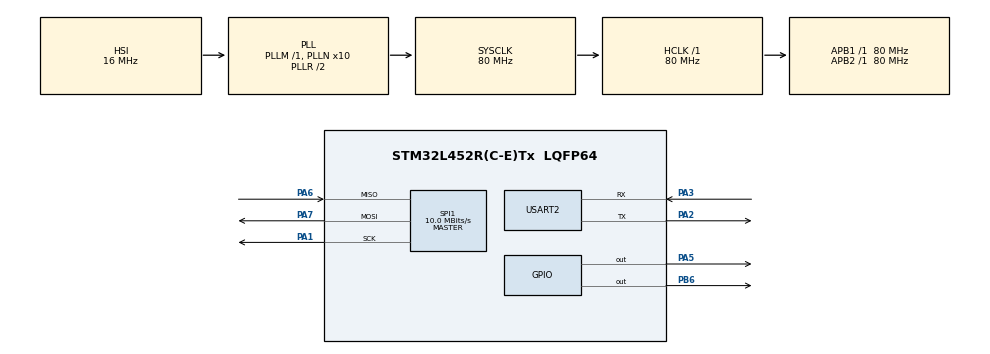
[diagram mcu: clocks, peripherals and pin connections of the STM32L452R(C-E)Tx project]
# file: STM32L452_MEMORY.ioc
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Dma.Request0=USART2_TX
Dma.USART2_TX.0.Direction=DMA_MEMORY_TO_PERIPH
Dma.USART2_TX.0.Instance=DMA1_Channel7
Dma.USART2_TX.0.MemDataAlignment=DMA_MDATAALIGN_BYTE
Dma.USART2_TX.0.MemInc=DMA_MINC_ENABLE
Dma.USART2_TX.0.Mode=DMA_NORMAL
Dma.USART2_TX.0.PeriphDataAlignment=DMA_PDATAALIGN_BYTE
Dma.USART2_TX.0.PeriphInc=DMA_PINC_DISABLE
Dma.USART2_TX.0.Priority=DMA_PRIORITY_LOW
FATFS._MAX_SS=4096
FATFS._USE_LFN=1
Mcu.Family=STM32L4
Mcu.Name=STM32L452R(C-E)Tx
Mcu.Package=LQFP64
NVIC.DMA1_Channel7_IRQn=true\:0\:0\:false\:false\:true\:false\:true
NVIC.PriorityGroup=NVIC_PRIORITYGROUP_4
PA1.Mode=Full_Duplex_Master
PA1.Signal=SPI1_SCK
PA13\ (JTMS/SWDIO).Mode=Serial_Wire
PA13\ (JTMS/SWDIO).Signal=SYS_JTMS-SWDIO
PA14\ (JTCK/SWCLK).Mode=Serial_Wire
PA14\ (JTCK/SWCLK).Signal=SYS_JTCK-SWCLK
PA2.Mode=Asynchronous
PA2.Signal=USART2_TX
PA3.Mode=Asynchronous
PA3.Signal=USART2_RX
PA5.Signal=GPIO_Output
PA6.GPIO_PuPd=GPIO_NOPULL
PA6.Mode=Full_Duplex_Master
PA6.Signal=SPI1_MISO
PA7.GPIO_PuPd=GPIO_NOPULL
PA7.Mode=Full_Duplex_Master
PA7.Signal=SPI1_MOSI
PB6.Signal=GPIO_Output
PH0-OSC_IN\ (PH0).Mode=HSE-External-Oscillator
PH0-OSC_IN\ (PH0).Signal=RCC_OSC_IN
PH1-OSC_OUT\ (PH1).Mode=HSE-External-Oscillator
PH1-OSC_OUT\ (PH1).Signal=RCC_OSC_OUT
ProjectManager.HeapSize=0x200
ProjectManager.StackSize=0x400
ProjectManager.TargetToolchain=STM32CubeIDE
RCC.ADCFreq_Value=128000000
RCC.AHBFreq_Value=80000000
RCC.APB1Freq_Value=80000000
RCC.APB1TimFreq_Value=80000000
RCC.APB2Freq_Value=80000000
RCC.APB2TimFreq_Value=80000000
RCC.CK48CLockSelection=RCC_USBCLKSOURCE_HSI48
RCC.CortexFreq_Value=80000000
RCC.HCLKFreq_Value=80000000
RCC.HSE_VALUE=8000000
RCC.HSI48_VALUE=48000000
RCC.HSI_VALUE=16000000
RCC.LSE_VALUE=32768
RCC.MSI_VALUE=4000000
RCC.PLLN=10
RCC.PLLSAI1N=16
RCC.PLLSourceVirtual=RCC_PLLSOURCE_HSI
RCC.SYSCLKFreq_VALUE=80000000
RCC.SYSCLKSource=RCC_SYSCLKSOURCE_PLLCLK
RCC.USBFreq_Value=48000000
RCC.VCOOutputFreq_Value=160000000
SPI1.BaudRatePrescaler=SPI_BAUDRATEPRESCALER_8
SPI1.CalculateBaudRate=10.0 MBits/s
SPI1.Direction=SPI_DIRECTION_2LINES
SPI1.Mode=SPI_MODE_MASTER
SPI1.VirtualType=VM_MASTER
USART2.VirtualMode-Asynchronous=VM_ASYNC
VP_FATFS_VS_Generic.Mode=User_defined
board=custom

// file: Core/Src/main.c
/* USER CODE BEGIN Header */
/**
  ******************************************************************************
  * @file           : main.c
  * @brief          : Main program body
  ******************************************************************************
  * @attention
  *
  * <h2><center>&copy; Copyright (c) 2020 STMicroelectronics.
  * All rights reserved.</center></h2>
  *
  * This software component is licensed by ST under BSD 3-Clause license,
  * the "License"; You may not use this file except in compliance with the
  * License. You may obtain a copy of the License at:
  *                        opensource.org/licenses/BSD-3-Clause
  *
  ******************************************************************************
  */
/* USER CODE END Header */

#include "main.h"
#include "fatfs.h"

/* USER CODE BEGIN Includes */
#include "../Libs/dma_usart/dma_usart.h"
#include "../Libs/flash/flash.h"
#include "fatfs_sd.h"
/* USER CODE END Includes */

SPI_HandleTypeDef hspi1;

UART_HandleTypeDef huart2;
DMA_HandleTypeDef hdma_usart2_tx;

/* USER CODE BEGIN PV */
FATFS SDFatFs;
FIL file;
extern char SDPath[4];   /* SD logical drive path */
/* USER CODE END PV */

void SystemClock_Config(void);
static void MX_GPIO_Init(void);
static void MX_DMA_Init(void);
static void MX_USART2_UART_Init(void);
static void MX_SPI1_Init(void);
/* USER CODE BEGIN PFP */
uint16_t state;
uint16_t i;
void HAL_FLASH_EndOfOperationCallback(uint32_t ReturnValue) {
	state = ReturnValue;
	i++;
}
void HAL_FLASH_OperationErrorCallback(uint32_t ReturnValue) {
	state = ReturnValue;
	i++;
}
/* USER CODE END PFP */

/* USER CODE BEGIN 0 */
FATFS fs;
FIL fil;
FRESULT rez;
char buffer[1024];
UINT br, bw;
FATFS *pfs;
DWORD fre_clust;
uint32_t total, free_space;
/* USER CODE END 0 */

int main(void)
{

  /* MCU Configuration--------------------------------------------------------*/

  /* Reset of all peripherals, Initializes the Flash interface and the Systick. */
  HAL_Init();

  /* Configure the system clock */
  SystemClock_Config();

  /* Initialize all configured peripherals */
  MX_GPIO_Init();
  MX_DMA_Init();
  MX_USART2_UART_Init();
  MX_FATFS_Init();
  MX_SPI1_Init();

  /* Infinite loop */
  /* USER CODE BEGIN WHILE */
  i=0;
  state = 0;
  DMA_USART_Init();
  DMA_USART_Printf("hello\r\n");
  HAL_Delay(10);
  uint32_t flashAddress = 0x0807F800;
  HAL_FLASH_Lock();

  uint8_t size = 20;
  uint64_t res[size];
  uint64_t val[size];
  for(uint16_t i=0; i<size; i++) {
  	val[i] = i+10000000;
  }

  HAL_Delay (500);

	rez = f_mount(&fs, "/", 1);
	if (rez != FR_OK){
		DMA_USART_Printf("ERROR!!! in mounting SD CARD... %d \r\n", rez);
	} else {
		DMA_USART_Printf("SD CARD mounted successfully...\r\n");
	}

	HAL_Delay (20);
	/*************** Card capacity details ********************/

	/* Check free space */
	f_getfree("", &fre_clust, &pfs);

	total = (uint32_t)((pfs->n_fatent - 2) * pfs->csize * 0.5);
	DMA_USART_Printf("SD CARD Total Size: \t%lu\r\n",total);
	free_space = (uint32_t)(fre_clust * pfs->csize * 0.5);
	HAL_Delay (20);
	DMA_USART_Printf("SD CARD Free Space: \t%lu\r\n",free_space);
	HAL_Delay (20);

	/************* The following operation is using PUTS and GETS *********************/

	/* Open file to write/ create a file if it doesn't exist */
	rez = f_open(&fil, "file1.txt", FA_OPEN_ALWAYS | FA_READ | FA_WRITE);
	if (rez != FR_OK) {
			DMA_USART_Printf("ERROR!!! in opening SD CARD... %d \r\n", rez);
		} else {
			DMA_USART_Printf("File opened successfully...\r\n");
		}

  while (1)
  {
  	Flash_SetPageAddrs(255, flashAddress);
  	  HAL_StatusTypeDef a = Flash_WriteN(0, val, size, DATA_TYPE_64);

  	  Flash_ReadN(0, res, size, DATA_TYPE_64);
  	  //FRESULT res;
  	  /*uint32_t w_q, r_q;
  	  uint8_t w_text[] = "Do u know the way?";
  	  uint8_t r_write[100] = {0};
  	  FRESULT mountState = f_mount(&SDFatFS, (TCHAR const*)SDPath, 0);
  	  if(mountState != FR_OK) {
  	  	Error_Handler();
  	  	DMA_USART_Printf("Mount failed %d \r\n", mountState);
  	  } else {
  	  	FRESULT stateOpen = f_open(&file, "w.txt", FA_CREATE_ALWAYS | FA_WRITE);
  	  	if(stateOpen != FR_OK) {
  	  		Error_Handler();
  	  		DMA_USART_Printf("Open failed %d \r\n", stateOpen);
  	  	} else {
  	  		f_close(&file);
  	  	}
  	  }*/
  	HAL_GPIO_TogglePin(GPIOA, GPIO_PIN_5);
		HAL_Delay(1000);
    /* USER CODE END WHILE */

  }
}

void SystemClock_Config(void)
{
  RCC_OscInitTypeDef RCC_OscInitStruct = {0};
  RCC_ClkInitTypeDef RCC_ClkInitStruct = {0};
  RCC_PeriphCLKInitTypeDef PeriphClkInit = {0};

  /** Initializes the CPU, AHB and APB busses clocks
  */
  RCC_OscInitStruct.OscillatorType = RCC_OSCILLATORTYPE_HSI;
  RCC_OscInitStruct.HSIState = RCC_HSI_ON;
  RCC_OscInitStruct.HSICalibrationValue = RCC_HSICALIBRATION_DEFAULT;
  RCC_OscInitStruct.PLL.PLLState = RCC_PLL_ON;
  RCC_OscInitStruct.PLL.PLLSource = RCC_PLLSOURCE_HSI;
  RCC_OscInitStruct.PLL.PLLM = 1;
  RCC_OscInitStruct.PLL.PLLN = 10;
  RCC_OscInitStruct.PLL.PLLP = RCC_PLLP_DIV7;
  RCC_OscInitStruct.PLL.PLLQ = RCC_PLLQ_DIV2;
  RCC_OscInitStruct.PLL.PLLR = RCC_PLLR_DIV2;
  if (HAL_RCC_OscConfig(&RCC_OscInitStruct) != HAL_OK)
  {
    Error_Handler();
  }
  /** Initializes the CPU, AHB and APB busses clocks
  */
  RCC_ClkInitStruct.ClockType = RCC_CLOCKTYPE_HCLK|RCC_CLOCKTYPE_SYSCLK
                              |RCC_CLOCKTYPE_PCLK1|RCC_CLOCKTYPE_PCLK2;
  RCC_ClkInitStruct.SYSCLKSource = RCC_SYSCLKSOURCE_PLLCLK;
  RCC_ClkInitStruct.AHBCLKDivider = RCC_SYSCLK_DIV1;
  RCC_ClkInitStruct.APB1CLKDivider = RCC_HCLK_DIV1;
  RCC_ClkInitStruct.APB2CLKDivider = RCC_HCLK_DIV1;

  if (HAL_RCC_ClockConfig(&RCC_ClkInitStruct, FLASH_LATENCY_4) != HAL_OK)
  {
    Error_Handler();
  }
  PeriphClkInit.PeriphClockSelection = RCC_PERIPHCLK_USART2;
  PeriphClkInit.Usart2ClockSelection = RCC_USART2CLKSOURCE_PCLK1;
  if (HAL_RCCEx_PeriphCLKConfig(&PeriphClkInit) != HAL_OK)
  {
    Error_Handler();
  }
  /** Configure the main internal regulator output voltage
  */
  if (HAL_PWREx_ControlVoltageScaling(PWR_REGULATOR_VOLTAGE_SCALE1) != HAL_OK)
  {
    Error_Handler();
  }
}

static void MX_SPI1_Init(void)
{

  /* SPI1 parameter configuration*/
  hspi1.Instance = SPI1;
  hspi1.Init.Mode = SPI_MODE_MASTER;
  hspi1.Init.Direction = SPI_DIRECTION_2LINES;
  hspi1.Init.DataSize = SPI_DATASIZE_4BIT;
  hspi1.Init.CLKPolarity = SPI_POLARITY_LOW;
  hspi1.Init.CLKPhase = SPI_PHASE_1EDGE;
  hspi1.Init.NSS = SPI_NSS_SOFT;
  hspi1.Init.BaudRatePrescaler = SPI_BAUDRATEPRESCALER_8;
  hspi1.Init.FirstBit = SPI_FIRSTBIT_MSB;
  hspi1.Init.TIMode = SPI_TIMODE_DISABLE;
  hspi1.Init.CRCCalculation = SPI_CRCCALCULATION_DISABLE;
  hspi1.Init.CRCPolynomial = 7;
  hspi1.Init.CRCLength = SPI_CRC_LENGTH_DATASIZE;
  hspi1.Init.NSSPMode = SPI_NSS_PULSE_ENABLE;
  if (HAL_SPI_Init(&hspi1) != HAL_OK)
  {
    Error_Handler();
  }

}

static void MX_USART2_UART_Init(void)
{

  huart2.Instance = USART2;
  huart2.Init.BaudRate = 115200;
  huart2.Init.WordLength = UART_WORDLENGTH_8B;
  huart2.Init.StopBits = UART_STOPBITS_1;
  huart2.Init.Parity = UART_PARITY_NONE;
  huart2.Init.Mode = UART_MODE_TX_RX;
  huart2.Init.HwFlowCtl = UART_HWCONTROL_NONE;
  huart2.Init.OverSampling = UART_OVERSAMPLING_16;
  huart2.Init.OneBitSampling = UART_ONE_BIT_SAMPLE_DISABLE;
  huart2.AdvancedInit.AdvFeatureInit = UART_ADVFEATURE_NO_INIT;
  if (HAL_UART_Init(&huart2) != HAL_OK)
  {
    Error_Handler();
  }

}

static void MX_DMA_Init(void)
{

  /* DMA controller clock enable */
  __HAL_RCC_DMA1_CLK_ENABLE();

  /* DMA interrupt init */
  /* DMA1_Channel7_IRQn interrupt configuration */
  HAL_NVIC_SetPriority(DMA1_Channel7_IRQn, 0, 0);
  HAL_NVIC_EnableIRQ(DMA1_Channel7_IRQn);

}

static void MX_GPIO_Init(void)
{
  GPIO_InitTypeDef GPIO_InitStruct = {0};

  /* GPIO Ports Clock Enable */
  __HAL_RCC_GPIOH_CLK_ENABLE();
  __HAL_RCC_GPIOA_CLK_ENABLE();
  __HAL_RCC_GPIOB_CLK_ENABLE();

  /*Configure GPIO pin Output Level */
  HAL_GPIO_WritePin(GPIOA, GPIO_PIN_5, GPIO_PIN_RESET);

  /*Configure GPIO pin Output Level */
  HAL_GPIO_WritePin(GPIOB, GPIO_PIN_6, GPIO_PIN_RESET);

  /*Configure GPIO pin : PA5 */
  GPIO_InitStruct.Pin = GPIO_PIN_5;
  GPIO_InitStruct.Mode = GPIO_MODE_OUTPUT_PP;
  GPIO_InitStruct.Pull = GPIO_NOPULL;
  GPIO_InitStruct.Speed = GPIO_SPEED_FREQ_LOW;
  HAL_GPIO_Init(GPIOA, &GPIO_InitStruct);

  /*Configure GPIO pin : PB6 */
  GPIO_InitStruct.Pin = GPIO_PIN_6;
  GPIO_InitStruct.Mode = GPIO_MODE_OUTPUT_PP;
  GPIO_InitStruct.Pull = GPIO_NOPULL;
  GPIO_InitStruct.Speed = GPIO_SPEED_FREQ_LOW;
  HAL_GPIO_Init(GPIOB, &GPIO_InitStruct);

}

void Error_Handler(void)
{
}

/************************ (C) COPYRIGHT STMicroelectronics *****END OF FILE****/
